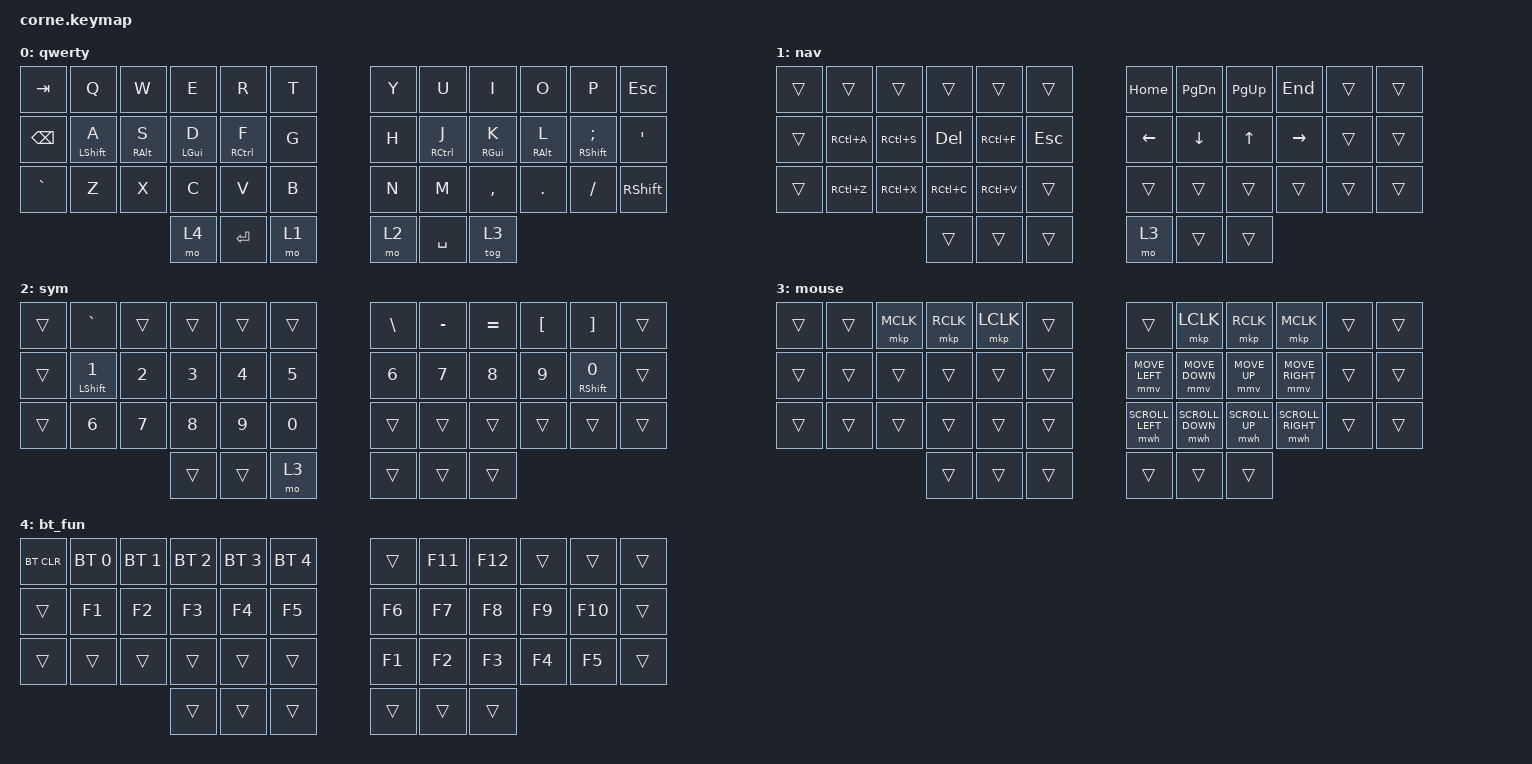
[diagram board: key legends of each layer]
/*
 * Copyright (c) 2020 The ZMK Contributors
 *
 * SPDX-License-Identifier: MIT
 */

#include <dt-bindings/zmk/mouse.h>
#include "mouse.dtsi"
#include "../zmk-nodefree-config/helper.h"
#include <behaviors.dtsi>
#include <dt-bindings/zmk/bt.h>
#include <dt-bindings/zmk/keys.h>

/ {
    keymap {
        compatible = "zmk,keymap";

        qwerty {
            // -----------------------------------------------------------------------------------------
            // |  TAB |  Q  |  W  |  E  |  R  |  T  |   |  Y  |  U   |  I  |  O  |  P  | BKSP |
            // | CTRL |  A  |  S  |  D  |  F  |  G  |   |  H  |  J   |  K  |  L  |  ;  |  '   |
            // | SHFT |  Z  |  X  |  C  |  V  |  B  |   |  N  |  M   |  ,  |  .  |  /  | ESC  |
            //                    | GUI | LWR | SPC |   | ENT | RSE  | ALT |

            bindings = <
&kp TAB    &kp Q             &kp W            &kp E       &kp R        &kp T    &kp Y  &kp U        &kp I       &kp O            &kp P                      &kp ESC
&kp BSPC   &mt LEFT_SHIFT A  &mt RIGHT_ALT S  &mt LGUI D  &mt RCTRL F  &kp G    &kp H  &mt RCTRL J  &mt RGUI K  &mt RIGHT_ALT L  &mt RIGHT_SHIFT SEMICOLON  &kp SQT
&kp GRAVE  &kp Z             &kp X            &kp C       &kp V        &kp B    &kp N  &kp M        &kp COMMA   &kp DOT          &kp FSLH                   &kp RSHFT
                                              &mo 4       &kp RET      &mo 1    &mo 2  &kp SPACE    &tog 3
            >;
        };

        nav {
            // -----------------------------------------------------------------------------------------
            // |  TAB |  1  |  2  |  3  |  4  |  5  |   |  6  |  7  |  8  |  9  |  0  | BKSP |
            // | BTCLR| BT1 | BT2 | BT3 | BT4 | BT5 |   | LFT | DWN |  UP | RGT |     |      |
            // | SHFT |     |     |     |     |     |   |     |     |     |     |     |      |
            //                    | GUI |     | SPC |   | ENT |     | ALT |

            bindings = <
&trans  &trans     &trans     &trans     &trans     &trans     &kp HOME  &kp PG_DN  &kp PG_UP  &kp END    &trans  &trans
&trans  &kp RC(A)  &kp RC(S)  &kp DEL    &kp RC(F)  &kp ESC    &kp LEFT  &kp DOWN   &kp UP     &kp RIGHT  &trans  &trans
&trans  &kp RC(Z)  &kp RC(X)  &kp RC(C)  &kp RC(V)  &trans     &trans    &trans     &trans     &trans     &trans  &trans
                              &trans     &trans     &trans     &mo 3     &trans     &trans
            >;
        };

        sym {
            // -----------------------------------------------------------------------------------------
            // |  TAB |  !  |  @  |  #  |  $  |  %  |   |  ^  |  &  |  *  |  (  |  )  | BKSP |
            // | CTRL |     |     |     |     |     |   |  -  |  =  |  [  |  ]  |  \  |  `   |
            // | SHFT |     |     |     |     |     |   |  _  |  +  |  {  |  }  | "|" |  ~   |
            //                    | GUI |     | SPC |   | ENT |     | ALT |

            bindings = <
&trans  &kp GRAVE                &trans  &trans  &trans  &trans    &kp BSLH  &kp MINUS  &kp EQUAL  &kp LBKT  &kp RBKT                  &trans
&trans  &mt LEFT_SHIFT NUMBER_1  &kp N2  &kp N3  &kp N4  &kp N5    &kp N6    &kp N7     &kp N8     &kp N9    &mt RIGHT_SHIFT NUMBER_0  &trans
&trans  &kp N6                   &kp N7  &kp N8  &kp N9  &kp N0    &trans    &trans     &trans     &trans    &trans                    &trans
                                         &trans  &trans  &mo 3     &trans    &trans     &trans
            >;
        };

        mouse {
            bindings = <
&trans  &trans  &mkp MCLK  &mkp RCLK  &mkp LCLK  &trans    &trans            &mkp LCLK         &mkp RCLK       &mkp MCLK          &trans  &trans
&trans  &trans  &trans     &trans     &trans     &trans    &mmv MOVE_LEFT    &mmv MOVE_DOWN    &mmv MOVE_UP    &mmv MOVE_RIGHT    &trans  &trans
&trans  &trans  &trans     &trans     &trans     &trans    &mwh SCROLL_LEFT  &mwh SCROLL_DOWN  &mwh SCROLL_UP  &mwh SCROLL_RIGHT  &trans  &trans
                           &trans     &trans     &trans    &trans            &trans            &trans
            >;
        };

        bt_fun {
            bindings = <
&bt BT_CLR  &bt BT_SEL 0  &bt BT_SEL 1  &bt BT_SEL 2  &bt BT_SEL 3  &bt BT_SEL 4    &trans  &kp F11  &kp F12  &trans  &trans   &trans
&trans      &kp F1        &kp F2        &kp F3        &kp F4        &kp F5          &kp F6  &kp F7   &kp F8   &kp F9  &kp F10  &trans
&trans      &trans        &trans        &trans        &trans        &trans          &kp F1  &kp F2   &kp F3   &kp F4  &kp F5   &trans
                                        &trans        &trans        &trans          &trans  &trans   &trans
            >;
        };
    };
};
